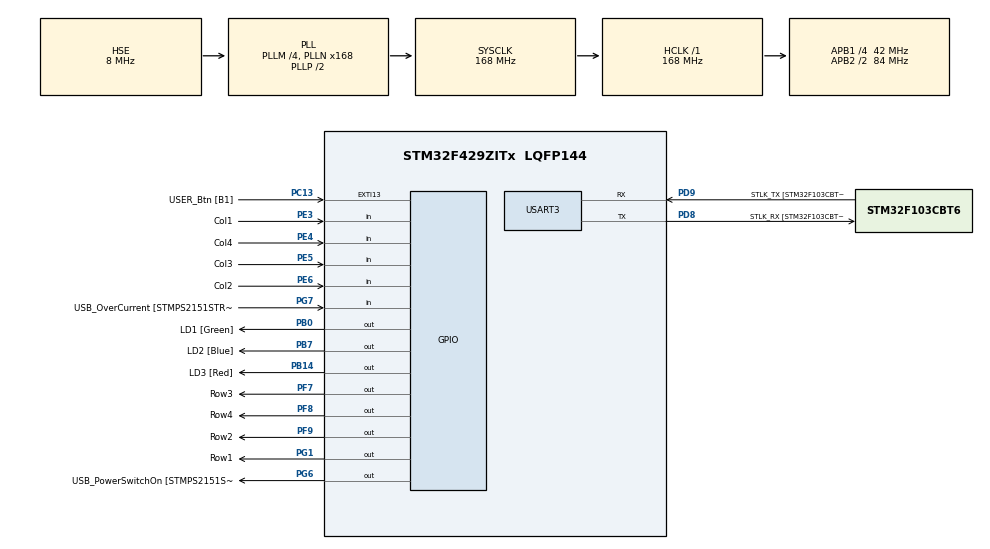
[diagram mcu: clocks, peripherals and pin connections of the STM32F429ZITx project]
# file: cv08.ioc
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Mcu.Family=STM32F4
Mcu.Name=STM32F429ZITx
Mcu.Package=LQFP144
NVIC.PriorityGroup=NVIC_PRIORITYGROUP_4
NVIC.TIM3_IRQn=true\:0\:0\:false\:false\:true\:true\:true\:true
PA1.GPIO_Label=RMII_REF_CLK [LAN8742A-CZ-TR_REFCLK0]
PA1.Signal=ETH_REF_CLK
PA10.GPIO_Label=USB_ID
PA10.Signal=USB_OTG_FS_ID
PA11.GPIO_Label=USB_DM
PA11.Signal=USB_OTG_FS_DM
PA12.GPIO_Label=USB_DP
PA12.Signal=USB_OTG_FS_DP
PA13.GPIO_Label=TMS
PA13.Mode=Serial_Wire
PA13.Signal=SYS_JTMS-SWDIO
PA14.GPIO_Label=TCK
PA14.Mode=Serial_Wire
PA14.Signal=SYS_JTCK-SWCLK
PA2.GPIO_Label=RMII_MDIO [LAN8742A-CZ-TR_MDIO]
PA2.Signal=ETH_MDIO
PA7.GPIO_Label=RMII_CRS_DV [LAN8742A-CZ-TR_CRS_DV]
PA7.Signal=ETH_CRS_DV
PA8.GPIO_Label=USB_SOF [TP1]
PA8.Signal=USB_OTG_FS_SOF
PA9.GPIO_Label=USB_VBUS
PA9.Signal=USB_OTG_FS_VBUS
PB0.GPIO_Label=LD1 [Green]
PB0.Signal=GPIO_Output
PB13.GPIO_Label=RMII_TXD1 [LAN8742A-CZ-TR_TXD1]
PB13.Signal=ETH_TXD1
PB14.GPIO_Label=LD3 [Red]
PB14.Signal=GPIO_Output
PB7.GPIO_Label=LD2 [Blue]
PB7.Signal=GPIO_Output
PC1.GPIO_Label=RMII_MDC [LAN8742A-CZ-TR_MDC]
PC1.Signal=ETH_MDC
PC13.GPIO_Label=USER_Btn [B1]
PC13.Signal=GPXTI13
PC14/OSC32_IN.Mode=LSE-External-Oscillator
PC14/OSC32_IN.Signal=RCC_OSC32_IN
PC15/OSC32_OUT.Mode=LSE-External-Oscillator
PC15/OSC32_OUT.Signal=RCC_OSC32_OUT
PC4.GPIO_Label=RMII_RXD0 [LAN8742A-CZ-TR_RXD0]
PC4.Signal=ETH_RXD0
PC5.GPIO_Label=RMII_RXD1 [LAN8742A-CZ-TR_RXD1]
PC5.Signal=ETH_RXD1
PD8.GPIO_Label=STLK_RX [STM32F103CBT6_PA3]
PD8.Mode=Asynchronous
PD8.Signal=USART3_TX
PD9.GPIO_Label=STLK_TX [STM32F103CBT6_PA2]
PD9.Mode=Asynchronous
PD9.Signal=USART3_RX
PE3.GPIO_Label=Col1
PE3.GPIO_PuPd=GPIO_PULLUP
PE3.Signal=GPIO_Input
PE4.GPIO_Label=Col4
PE4.GPIO_PuPd=GPIO_PULLUP
PE4.Signal=GPIO_Input
PE5.GPIO_Label=Col3
PE5.GPIO_PuPd=GPIO_PULLUP
PE5.Signal=GPIO_Input
PE6.GPIO_Label=Col2
PE6.GPIO_PuPd=GPIO_PULLUP
PE6.Signal=GPIO_Input
PF7.GPIO_Label=Row3
PF7.GPIO_ModeDefaultOutputPP=GPIO_MODE_OUTPUT_OD
PF7.GPIO_PuPd=GPIO_NOPULL
PF7.Signal=GPIO_Output
PF8.GPIO_Label=Row4
PF8.GPIO_ModeDefaultOutputPP=GPIO_MODE_OUTPUT_OD
PF8.GPIO_PuPd=GPIO_NOPULL
PF8.Signal=GPIO_Output
PF9.GPIO_Label=Row2
PF9.GPIO_ModeDefaultOutputPP=GPIO_MODE_OUTPUT_OD
PF9.GPIO_PuPd=GPIO_NOPULL
PF9.Signal=GPIO_Output
PG1.GPIO_Label=Row1
PG1.GPIO_ModeDefaultOutputPP=GPIO_MODE_OUTPUT_OD
PG1.GPIO_PuPd=GPIO_NOPULL
PG1.Signal=GPIO_Output
PG11.GPIO_Label=RMII_TX_EN [LAN8742A-CZ-TR_TXEN]
PG11.Signal=ETH_TX_EN
PG13.GPIO_Label=RMII_TXD0 [LAN8742A-CZ-TR_TXD0]
PG13.Signal=ETH_TXD0
PG6.GPIO_Label=USB_PowerSwitchOn [STMPS2151STR_EN]
PG6.Signal=GPIO_Output
PG7.GPIO_Label=USB_OverCurrent [STMPS2151STR_FAULT]
PG7.Signal=GPIO_Input
PH0/OSC_IN.GPIO_Label=MCO [STM32F103CBT6_PA8]
PH0/OSC_IN.Mode=HSE-External-Clock-Source
PH0/OSC_IN.Signal=RCC_OSC_IN
PH1/OSC_OUT.Mode=HSE-External-Clock-Source
PH1/OSC_OUT.Signal=RCC_OSC_OUT
ProjectManager.HeapSize=0x200
ProjectManager.StackSize=0x400
ProjectManager.TargetToolchain=STM32CubeIDE
RCC.48MHZClocksFreq_Value=48000000
RCC.AHBFreq_Value=168000000
RCC.APB1CLKDivider=RCC_HCLK_DIV4
RCC.APB1Freq_Value=42000000
RCC.APB1TimFreq_Value=84000000
RCC.APB2CLKDivider=RCC_HCLK_DIV2
RCC.APB2Freq_Value=84000000
RCC.APB2TimCLKDivider=2
RCC.APB2TimFreq_Value=168000000
RCC.CortexFreq_Value=168000000
RCC.HCLKFreq_Value=168000000
RCC.HSE_VALUE=8000000
RCC.HSI_VALUE=16000000
RCC.PLLM=4
RCC.PLLMUL=RCC_PLL_MUL9
RCC.PLLN=168
RCC.PLLQ=7
RCC.PLLSourceVirtual=RCC_PLLSOURCE_HSE
RCC.PRESCALERUSB=RCC_USBCLKSOURCE_PLL_DIV1_5
RCC.SYSCLKFreq_VALUE=168000000
RCC.SYSCLKSource=RCC_SYSCLKSOURCE_PLLCLK
RCC.SYSCLKSourceVirtual=RCC_SYSCLKSOURCE_PLLCLK
RCC.USBFreq_Value=48000000
RCC.VCOOutputFreq_Value=336000000
TIM3.AutoReloadPreload=TIM_AUTORELOAD_PRELOAD_ENABLE
TIM3.Period=99
TIM3.Prescaler=8399
USART3.VirtualMode=VM_ASYNC
VP_TIM3_VS_ClockSourceINT.Mode=Internal
board=NUCLEO-F429ZI

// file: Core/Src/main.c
/* USER CODE BEGIN Header */
/**
  ******************************************************************************
  * @file           : main.c
  * @brief          : Main program body
  ******************************************************************************
  * @attention
  *
  * Copyright (c) 2023 STMicroelectronics.
  * All rights reserved.
  *
  * This software is licensed under terms that can be found in the LICENSE file
  * in the root directory of this software component.
  * If no LICENSE file comes with this software, it is provided AS-IS.
  *
  ******************************************************************************
  */
/* USER CODE END Header */
#include "main.h"

/* USER CODE BEGIN Includes */
#include <stdio.h>
/* USER CODE END Includes */

TIM_HandleTypeDef htim3;

UART_HandleTypeDef huart3;

/* USER CODE BEGIN PV */
static volatile int8_t key = -1;
static const uint8_t pass[] = {7, 9, 3, 2, 12};
/* USER CODE END PV */

void SystemClock_Config(void);
static void MX_GPIO_Init(void);
static void MX_USART3_UART_Init(void);
static void MX_TIM3_Init(void);

/* USER CODE BEGIN 0 */
int __io_putchar(int ch)
{
	ITM_SendChar(ch);
	return 0;
}
/* USER CODE END 0 */

int main(void)
{

  /* MCU Configuration--------------------------------------------------------*/

  /* Reset of all peripherals, Initializes the Flash interface and the Systick. */
  HAL_Init();

  /* Configure the system clock */
  SystemClock_Config();

  /* Initialize all configured peripherals */
  MX_GPIO_Init();
  MX_USART3_UART_Init();
  MX_TIM3_Init();
  /* USER CODE BEGIN 2 */
  HAL_TIM_Base_Start_IT(&htim3);

  /* USER CODE END 2 */

  /* Infinite loop */
  while (1)
  {

    /* USER CODE BEGIN 3 */
	  static uint8_t pos = 0;
	  static uint32_t t_pos = 0;
	  bool ifpasscorr = 0;
	  if (key != -1)
	  {
		  if (key == pass[pos])
		  {
			  pos++;
			  if (pos >= sizeof(pass))
			  {
				  HAL_GPIO_WritePin(LD1_GPIO_Port, LD1_Pin, 1);
				  ifpasscorr = 1;
			  }
		  }
		  else
		  {
			  pos = 0;
		  }
		  printf("Pass = %d > Pos = %d\n",key,pos);
		  if (ifpasscorr)
		  {
			  printf("Spravne heslo\n");
			  ifpasscorr = 0;
			  pos = 0;
		  }
		  HAL_Delay(1000);
		  HAL_GPIO_WritePin(LD1_GPIO_Port, LD1_Pin, 0);
		  key = -1;

		  t_pos = HAL_GetTick();
	  }
	  if (HAL_GetTick() > 3000 + t_pos && pos != 0)
	  {
		  printf("Timeout\n");
		  pos = 0;
	  }
  }
  /* USER CODE END 3 */
}

void SystemClock_Config(void)
{
  RCC_OscInitTypeDef RCC_OscInitStruct = {0};
  RCC_ClkInitTypeDef RCC_ClkInitStruct = {0};

  /** Configure the main internal regulator output voltage
  */
  __HAL_RCC_PWR_CLK_ENABLE();
  __HAL_PWR_VOLTAGESCALING_CONFIG(PWR_REGULATOR_VOLTAGE_SCALE1);

  /** Initializes the RCC Oscillators according to the specified parameters
  * in the RCC_OscInitTypeDef structure.
  */
  RCC_OscInitStruct.OscillatorType = RCC_OSCILLATORTYPE_HSE;
  RCC_OscInitStruct.HSEState = RCC_HSE_BYPASS;
  RCC_OscInitStruct.PLL.PLLState = RCC_PLL_ON;
  RCC_OscInitStruct.PLL.PLLSource = RCC_PLLSOURCE_HSE;
  RCC_OscInitStruct.PLL.PLLM = 4;
  RCC_OscInitStruct.PLL.PLLN = 168;
  RCC_OscInitStruct.PLL.PLLP = RCC_PLLP_DIV2;
  RCC_OscInitStruct.PLL.PLLQ = 7;
  if (HAL_RCC_OscConfig(&RCC_OscInitStruct) != HAL_OK)
  {
    Error_Handler();
  }

  /** Initializes the CPU, AHB and APB buses clocks
  */
  RCC_ClkInitStruct.ClockType = RCC_CLOCKTYPE_HCLK|RCC_CLOCKTYPE_SYSCLK
                              |RCC_CLOCKTYPE_PCLK1|RCC_CLOCKTYPE_PCLK2;
  RCC_ClkInitStruct.SYSCLKSource = RCC_SYSCLKSOURCE_PLLCLK;
  RCC_ClkInitStruct.AHBCLKDivider = RCC_SYSCLK_DIV1;
  RCC_ClkInitStruct.APB1CLKDivider = RCC_HCLK_DIV4;
  RCC_ClkInitStruct.APB2CLKDivider = RCC_HCLK_DIV2;

  if (HAL_RCC_ClockConfig(&RCC_ClkInitStruct, FLASH_LATENCY_5) != HAL_OK)
  {
    Error_Handler();
  }
}

static void MX_TIM3_Init(void)
{

  TIM_ClockConfigTypeDef sClockSourceConfig = {0};
  TIM_MasterConfigTypeDef sMasterConfig = {0};

  htim3.Instance = TIM3;
  htim3.Init.Prescaler = 8399;
  htim3.Init.CounterMode = TIM_COUNTERMODE_UP;
  htim3.Init.Period = 99;
  htim3.Init.ClockDivision = TIM_CLOCKDIVISION_DIV1;
  htim3.Init.AutoReloadPreload = TIM_AUTORELOAD_PRELOAD_ENABLE;
  if (HAL_TIM_Base_Init(&htim3) != HAL_OK)
  {
    Error_Handler();
  }
  sClockSourceConfig.ClockSource = TIM_CLOCKSOURCE_INTERNAL;
  if (HAL_TIM_ConfigClockSource(&htim3, &sClockSourceConfig) != HAL_OK)
  {
    Error_Handler();
  }
  sMasterConfig.MasterOutputTrigger = TIM_TRGO_RESET;
  sMasterConfig.MasterSlaveMode = TIM_MASTERSLAVEMODE_DISABLE;
  if (HAL_TIMEx_MasterConfigSynchronization(&htim3, &sMasterConfig) != HAL_OK)
  {
    Error_Handler();
  }

}

static void MX_USART3_UART_Init(void)
{

  huart3.Instance = USART3;
  huart3.Init.BaudRate = 115200;
  huart3.Init.WordLength = UART_WORDLENGTH_8B;
  huart3.Init.StopBits = UART_STOPBITS_1;
  huart3.Init.Parity = UART_PARITY_NONE;
  huart3.Init.Mode = UART_MODE_TX_RX;
  huart3.Init.HwFlowCtl = UART_HWCONTROL_NONE;
  huart3.Init.OverSampling = UART_OVERSAMPLING_16;
  if (HAL_UART_Init(&huart3) != HAL_OK)
  {
    Error_Handler();
  }

}

static void MX_GPIO_Init(void)
{
  GPIO_InitTypeDef GPIO_InitStruct = {0};

  /* GPIO Ports Clock Enable */
  __HAL_RCC_GPIOE_CLK_ENABLE();
  __HAL_RCC_GPIOC_CLK_ENABLE();
  __HAL_RCC_GPIOF_CLK_ENABLE();
  __HAL_RCC_GPIOH_CLK_ENABLE();
  __HAL_RCC_GPIOA_CLK_ENABLE();
  __HAL_RCC_GPIOB_CLK_ENABLE();
  __HAL_RCC_GPIOG_CLK_ENABLE();
  __HAL_RCC_GPIOD_CLK_ENABLE();

  /*Configure GPIO pin Output Level */
  HAL_GPIO_WritePin(GPIOF, Row3_Pin|Row4_Pin|Row2_Pin, GPIO_PIN_RESET);

  /*Configure GPIO pin Output Level */
  HAL_GPIO_WritePin(GPIOB, LD1_Pin|LD3_Pin|LD2_Pin, GPIO_PIN_RESET);

  /*Configure GPIO pin Output Level */
  HAL_GPIO_WritePin(GPIOG, Row1_Pin|USB_PowerSwitchOn_Pin, GPIO_PIN_RESET);

  /*Configure GPIO pins : Col1_Pin Col4_Pin Col3_Pin Col2_Pin */
  GPIO_InitStruct.Pin = Col1_Pin|Col4_Pin|Col3_Pin|Col2_Pin;
  GPIO_InitStruct.Mode = GPIO_MODE_INPUT;
  GPIO_InitStruct.Pull = GPIO_PULLUP;
  HAL_GPIO_Init(GPIOE, &GPIO_InitStruct);

  /*Configure GPIO pin : USER_Btn_Pin */
  GPIO_InitStruct.Pin = USER_Btn_Pin;
  GPIO_InitStruct.Mode = GPIO_MODE_IT_RISING;
  GPIO_InitStruct.Pull = GPIO_NOPULL;
  HAL_GPIO_Init(USER_Btn_GPIO_Port, &GPIO_InitStruct);

  /*Configure GPIO pins : Row3_Pin Row4_Pin Row2_Pin */
  GPIO_InitStruct.Pin = Row3_Pin|Row4_Pin|Row2_Pin;
  GPIO_InitStruct.Mode = GPIO_MODE_OUTPUT_OD;
  GPIO_InitStruct.Pull = GPIO_NOPULL;
  GPIO_InitStruct.Speed = GPIO_SPEED_FREQ_LOW;
  HAL_GPIO_Init(GPIOF, &GPIO_InitStruct);

  /*Configure GPIO pins : RMII_MDC_Pin RMII_RXD0_Pin RMII_RXD1_Pin */
  GPIO_InitStruct.Pin = RMII_MDC_Pin|RMII_RXD0_Pin|RMII_RXD1_Pin;
  GPIO_InitStruct.Mode = GPIO_MODE_AF_PP;
  GPIO_InitStruct.Pull = GPIO_NOPULL;
  GPIO_InitStruct.Speed = GPIO_SPEED_FREQ_VERY_HIGH;
  GPIO_InitStruct.Alternate = GPIO_AF11_ETH;
  HAL_GPIO_Init(GPIOC, &GPIO_InitStruct);

  /*Configure GPIO pins : RMII_REF_CLK_Pin RMII_MDIO_Pin RMII_CRS_DV_Pin */
  GPIO_InitStruct.Pin = RMII_REF_CLK_Pin|RMII_MDIO_Pin|RMII_CRS_DV_Pin;
  GPIO_InitStruct.Mode = GPIO_MODE_AF_PP;
  GPIO_InitStruct.Pull = GPIO_NOPULL;
  GPIO_InitStruct.Speed = GPIO_SPEED_FREQ_VERY_HIGH;
  GPIO_InitStruct.Alternate = GPIO_AF11_ETH;
  HAL_GPIO_Init(GPIOA, &GPIO_InitStruct);

  /*Configure GPIO pins : LD1_Pin LD3_Pin LD2_Pin */
  GPIO_InitStruct.Pin = LD1_Pin|LD3_Pin|LD2_Pin;
  GPIO_InitStruct.Mode = GPIO_MODE_OUTPUT_PP;
  GPIO_InitStruct.Pull = GPIO_NOPULL;
  GPIO_InitStruct.Speed = GPIO_SPEED_FREQ_LOW;
  HAL_GPIO_Init(GPIOB, &GPIO_InitStruct);

  /*Configure GPIO pin : Row1_Pin */
  GPIO_InitStruct.Pin = Row1_Pin;
  GPIO_InitStruct.Mode = GPIO_MODE_OUTPUT_OD;
  GPIO_InitStruct.Pull = GPIO_NOPULL;
  GPIO_InitStruct.Speed = GPIO_SPEED_FREQ_LOW;
  HAL_GPIO_Init(Row1_GPIO_Port, &GPIO_InitStruct);

  /*Configure GPIO pin : RMII_TXD1_Pin */
  GPIO_InitStruct.Pin = RMII_TXD1_Pin;
  GPIO_InitStruct.Mode = GPIO_MODE_AF_PP;
  GPIO_InitStruct.Pull = GPIO_NOPULL;
  GPIO_InitStruct.Speed = GPIO_SPEED_FREQ_VERY_HIGH;
  GPIO_InitStruct.Alternate = GPIO_AF11_ETH;
  HAL_GPIO_Init(RMII_TXD1_GPIO_Port, &GPIO_InitStruct);

  /*Configure GPIO pin : USB_PowerSwitchOn_Pin */
  GPIO_InitStruct.Pin = USB_PowerSwitchOn_Pin;
  GPIO_InitStruct.Mode = GPIO_MODE_OUTPUT_PP;
  GPIO_InitStruct.Pull = GPIO_NOPULL;
  GPIO_InitStruct.Speed = GPIO_SPEED_FREQ_LOW;
  HAL_GPIO_Init(USB_PowerSwitchOn_GPIO_Port, &GPIO_InitStruct);

  /*Configure GPIO pin : USB_OverCurrent_Pin */
  GPIO_InitStruct.Pin = USB_OverCurrent_Pin;
  GPIO_InitStruct.Mode = GPIO_MODE_INPUT;
  GPIO_InitStruct.Pull = GPIO_NOPULL;
  HAL_GPIO_Init(USB_OverCurrent_GPIO_Port, &GPIO_InitStruct);

  /*Configure GPIO pins : USB_SOF_Pin USB_ID_Pin USB_DM_Pin USB_DP_Pin */
  GPIO_InitStruct.Pin = USB_SOF_Pin|USB_ID_Pin|USB_DM_Pin|USB_DP_Pin;
  GPIO_InitStruct.Mode = GPIO_MODE_AF_PP;
  GPIO_InitStruct.Pull = GPIO_NOPULL;
  GPIO_InitStruct.Speed = GPIO_SPEED_FREQ_VERY_HIGH;
  GPIO_InitStruct.Alternate = GPIO_AF10_OTG_FS;
  HAL_GPIO_Init(GPIOA, &GPIO_InitStruct);

  /*Configure GPIO pin : USB_VBUS_Pin */
  GPIO_InitStruct.Pin = USB_VBUS_Pin;
  GPIO_InitStruct.Mode = GPIO_MODE_INPUT;
  GPIO_InitStruct.Pull = GPIO_NOPULL;
  HAL_GPIO_Init(USB_VBUS_GPIO_Port, &GPIO_InitStruct);

  /*Configure GPIO pins : RMII_TX_EN_Pin RMII_TXD0_Pin */
  GPIO_InitStruct.Pin = RMII_TX_EN_Pin|RMII_TXD0_Pin;
  GPIO_InitStruct.Mode = GPIO_MODE_AF_PP;
  GPIO_InitStruct.Pull = GPIO_NOPULL;
  GPIO_InitStruct.Speed = GPIO_SPEED_FREQ_VERY_HIGH;
  GPIO_InitStruct.Alternate = GPIO_AF11_ETH;
  HAL_GPIO_Init(GPIOG, &GPIO_InitStruct);

}

/* USER CODE BEGIN 4 */
void HAL_TIM_PeriodElapsedCallback(TIM_HandleTypeDef *htim)
{
	static int row = 0;
	static const int keyboard[4][4] = {
		{ 1, 2, 3, 21 },
		{ 4, 5, 6, 22 },
		{ 7, 8, 9, 23 },
		{ 11, 0, 12, 24 },
	};

	if (key == -1) {
		if (HAL_GPIO_ReadPin(Col1_GPIO_Port, Col1_Pin) == GPIO_PIN_RESET) key = keyboard[row][0];
		if (HAL_GPIO_ReadPin(Col2_GPIO_Port, Col2_Pin) == GPIO_PIN_RESET) key = keyboard[row][1];
		if (HAL_GPIO_ReadPin(Col3_GPIO_Port, Col3_Pin) == GPIO_PIN_RESET) key = keyboard[row][2];
		if (HAL_GPIO_ReadPin(Col4_GPIO_Port, Col4_Pin) == GPIO_PIN_RESET) key = keyboard[row][3];
	}

	HAL_GPIO_WritePin(Row1_GPIO_Port, Row1_Pin, GPIO_PIN_SET);
	HAL_GPIO_WritePin(Row2_GPIO_Port, Row2_Pin, GPIO_PIN_SET);
	HAL_GPIO_WritePin(Row3_GPIO_Port, Row3_Pin, GPIO_PIN_SET);
	HAL_GPIO_WritePin(Row4_GPIO_Port, Row4_Pin, GPIO_PIN_SET);

	switch (row)
	{
		case 0: row = 1; HAL_GPIO_WritePin(Row2_GPIO_Port, Row2_Pin, GPIO_PIN_RESET); break;
		case 1: row = 2; HAL_GPIO_WritePin(Row3_GPIO_Port, Row3_Pin, GPIO_PIN_RESET); break;
		case 2: row = 3; HAL_GPIO_WritePin(Row4_GPIO_Port, Row4_Pin, GPIO_PIN_RESET); break;
		case 3: row = 0; HAL_GPIO_WritePin(Row1_GPIO_Port, Row1_Pin, GPIO_PIN_RESET); break;
	}
}

/* USER CODE END 4 */

void Error_Handler(void)
{
  __disable_irq();
  while (1)
  {
  }
}
